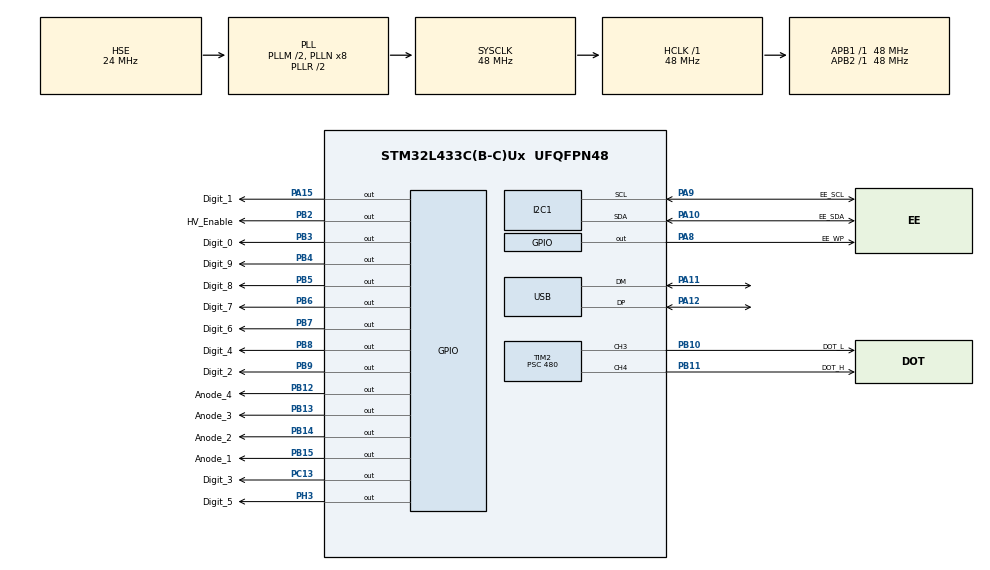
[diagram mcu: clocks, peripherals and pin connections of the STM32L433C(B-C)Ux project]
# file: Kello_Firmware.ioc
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ADC1.Channel-0\#ChannelRegularConversion=ADC_CHANNEL_TEMPSENSOR
ADC1.ClockPrescaler=ADC_CLOCK_ASYNC_DIV1
ADC1.ContinuousConvMode=DISABLE
ADC1.DMAContinuousRequests=DISABLE
ADC1.DataAlign=ADC_DATAALIGN_RIGHT
ADC1.DiscontinuousConvMode=DISABLE
ADC1.EOCSelection=ADC_EOC_SINGLE_CONV
ADC1.EnableAnalogWatchDog1=false
ADC1.EnableAnalogWatchDog2=false
ADC1.EnableAnalogWatchDog3=false
ADC1.EnableInjectedConversion=DISABLE
ADC1.EnableRegularConversion=ENABLE
ADC1.ExternalTrigConv=ADC_SOFTWARE_START
ADC1.ExternalTrigConvEdge=ADC_EXTERNALTRIGCONVEDGE_NONE
ADC1.LowPowerAutoWait=DISABLE
ADC1.NbrOfConversion=1
ADC1.NbrOfConversionFlag=1
ADC1.OffsetNumber-0\#ChannelRegularConversion=ADC_OFFSET_NONE
ADC1.Overrun=ADC_OVR_DATA_PRESERVED
ADC1.OversamplingMode=DISABLE
ADC1.Rank-0\#ChannelRegularConversion=1
ADC1.Resolution=ADC_RESOLUTION_12B
ADC1.SamplingTime-0\#ChannelRegularConversion=ADC_SAMPLETIME_2CYCLES_5
ADC1.ScanConvMode=ADC_SCAN_DISABLE
ADC1.master=1
Dma.Request0=TIM2_CH3
Dma.Request1=TIM2_CH2/CH4
Dma.TIM2_CH2/CH4.1.Direction=DMA_MEMORY_TO_PERIPH
Dma.TIM2_CH2/CH4.1.Instance=DMA1_Channel7
Dma.TIM2_CH2/CH4.1.MemDataAlignment=DMA_MDATAALIGN_WORD
Dma.TIM2_CH2/CH4.1.MemInc=DMA_MINC_ENABLE
Dma.TIM2_CH2/CH4.1.Mode=DMA_CIRCULAR
Dma.TIM2_CH2/CH4.1.PeriphDataAlignment=DMA_PDATAALIGN_WORD
Dma.TIM2_CH2/CH4.1.PeriphInc=DMA_PINC_DISABLE
Dma.TIM2_CH2/CH4.1.Priority=DMA_PRIORITY_VERY_HIGH
Dma.TIM2_CH3.0.Direction=DMA_MEMORY_TO_PERIPH
Dma.TIM2_CH3.0.Instance=DMA1_Channel1
Dma.TIM2_CH3.0.MemDataAlignment=DMA_MDATAALIGN_WORD
Dma.TIM2_CH3.0.MemInc=DMA_MINC_ENABLE
Dma.TIM2_CH3.0.Mode=DMA_CIRCULAR
Dma.TIM2_CH3.0.PeriphDataAlignment=DMA_PDATAALIGN_WORD
Dma.TIM2_CH3.0.PeriphInc=DMA_PINC_DISABLE
Dma.TIM2_CH3.0.Priority=DMA_PRIORITY_HIGH
I2C1.Timing=0x20303E5D
Mcu.Family=STM32L4
Mcu.Name=STM32L433C(B-C)Ux
Mcu.Package=UFQFPN48
NVIC.DMA1_Channel1_IRQn=true\:0\:0\:false\:false\:true\:false
NVIC.DMA1_Channel7_IRQn=true\:0\:0\:false\:false\:true\:false
NVIC.PriorityGroup=NVIC_PRIORITYGROUP_4
NVIC.TIM1_BRK_TIM15_IRQn=true\:0\:0\:false\:false\:true\:true
NVIC.TIM1_CC_IRQn=true\:0\:0\:false\:false\:true\:true
NVIC.TIM1_TRG_COM_IRQn=true\:0\:0\:false\:false\:true\:true
NVIC.TIM1_UP_TIM16_IRQn=true\:0\:0\:false\:false\:true\:true
NVIC.USB_IRQn=true\:0\:0\:false\:false\:true\:false
PA10.GPIO_Label=EE_SDA
PA10.Mode=I2C
PA10.Signal=I2C1_SDA
PA11.Mode=Device
PA11.Signal=USB_DM
PA12.Mode=Device
PA12.Signal=USB_DP
PA13\ (JTMS-SWDIO).GPIO_Label=SWDIO
PA13\ (JTMS-SWDIO).Mode=Serial_Wire
PA13\ (JTMS-SWDIO).Signal=SYS_JTMS-SWDIO
PA14\ (JTCK-SWCLK).GPIO_Label=SWCLK
PA14\ (JTCK-SWCLK).Mode=Serial_Wire
PA14\ (JTCK-SWCLK).Signal=SYS_JTCK-SWCLK
PA15\ (JTDI).GPIO_Label=Digit_1
PA15\ (JTDI).Signal=GPIO_Output
PA8.GPIO_Label=EE_WP
PA8.Signal=GPIO_Output
PA9.GPIO_Label=EE_SCL
PA9.Mode=I2C
PA9.Signal=I2C1_SCL
PB10.GPIO_Label=DOT_L
PB10.Signal=S_TIM2_CH3
PB11.GPIO_Label=DOT_H
PB11.Signal=S_TIM2_CH4
PB12.GPIO_Label=Anode_4
PB12.Signal=GPIO_Output
PB13.GPIO_Label=Anode_3
PB13.Signal=GPIO_Output
PB14.GPIO_Label=Anode_2
PB14.Signal=GPIO_Output
PB15.GPIO_Label=Anode_1
PB15.Signal=GPIO_Output
PB2.GPIO_Label=HV_Enable
PB2.PinState=GPIO_PIN_SET
PB2.Signal=GPIO_Output
PB3\ (JTDO-TRACESWO).GPIO_Label=Digit_0
PB3\ (JTDO-TRACESWO).Signal=GPIO_Output
PB4\ (NJTRST).GPIO_Label=Digit_9
PB4\ (NJTRST).Signal=GPIO_Output
PB5.GPIO_Label=Digit_8
PB5.Signal=GPIO_Output
PB6.GPIO_Label=Digit_7
PB6.Signal=GPIO_Output
PB7.GPIO_Label=Digit_6
PB7.Signal=GPIO_Output
PB8.GPIO_Label=Digit_4
PB8.Signal=GPIO_Output
PB9.GPIO_Label=Digit_2
PB9.Signal=GPIO_Output
PC13.GPIO_Label=Digit_3
PC13.Signal=GPIO_Output
PC14-OSC32_IN\ (PC14).GPIO_Label=OSC32K_IN
PC14-OSC32_IN\ (PC14).Mode=LSE-External-Oscillator
PC14-OSC32_IN\ (PC14).Signal=RCC_OSC32_IN
PC15-OSC32_OUT\ (PC15).GPIO_Label=OSC32K_OUT
PC15-OSC32_OUT\ (PC15).Mode=LSE-External-Oscillator
PC15-OSC32_OUT\ (PC15).Signal=RCC_OSC32_OUT
PH0-OSC_IN\ (PH0).GPIO_Label=OSC24M_IN
PH0-OSC_IN\ (PH0).Mode=HSE-External-Oscillator
PH0-OSC_IN\ (PH0).Signal=RCC_OSC_IN
PH1-OSC_OUT\ (PH1).GPIO_Label=OSC24M_OUT
PH1-OSC_OUT\ (PH1).Mode=HSE-External-Oscillator
PH1-OSC_OUT\ (PH1).Signal=RCC_OSC_OUT
PH3-BOOT0.GPIO_Label=Digit_5
PH3-BOOT0.Signal=GPIO_Output
ProjectManager.HeapSize=0x200
ProjectManager.StackSize=0x400
ProjectManager.TargetToolchain=SW4STM32
RCC.ADCFreq_Value=48000000
RCC.AHBFreq_Value=48000000
RCC.APB1Freq_Value=48000000
RCC.APB1TimFreq_Value=48000000
RCC.APB2Freq_Value=48000000
RCC.APB2TimFreq_Value=48000000
RCC.CortexFreq_Value=48000000
RCC.HCLKFreq_Value=48000000
RCC.HSE_VALUE=24000000
RCC.HSI48_VALUE=48000000
RCC.HSI_VALUE=16000000
RCC.I2C1CLockSelection=RCC_I2C1CLKSOURCE_SYSCLK
RCC.MSI_VALUE=4000000
RCC.PLLM=2
RCC.PLLSourceVirtual=RCC_PLLSOURCE_HSE
RCC.RTCClockSelection=RCC_RTCCLKSOURCE_LSE
RCC.SYSCLKFreq_VALUE=48000000
RCC.SYSCLKSource=RCC_SYSCLKSOURCE_PLLCLK
RCC.USBFreq_Value=48000000
RCC.VCOOutputFreq_Value=96000000
SH.S_TIM2_CH3.0=TIM2_CH3,PWM Generation3 CH3
SH.S_TIM2_CH4.0=TIM2_CH4,PWM Generation4 CH4
TIM1.Channel-PWM\ Generation1\ No\ Output=TIM_CHANNEL_1
TIM1.Period=500
TIM1.Prescaler=24
TIM1.Pulse-PWM\ Generation1\ No\ Output=250
TIM2.Channel-PWM\ Generation3\ CH3=TIM_CHANNEL_3
TIM2.Channel-PWM\ Generation4\ CH4=TIM_CHANNEL_4
TIM2.Period=1000
TIM2.Prescaler=480
TIM2.Pulse-PWM\ Generation3\ CH3=500
TIM2.Pulse-PWM\ Generation4\ CH4=500
USB_DEVICE.CLASS_NAME_FS=CDC
USB_DEVICE.VirtualMode=Cdc
USB_DEVICE.VirtualModeFS=Cdc_FS
VP_ADC1_TempSens_Input.Mode=IN-TempSens
VP_ADC1_Vbat_Input.Mode=IN-Vbat
VP_RTC_VS_RTC_Activate.Mode=RTC_Enabled
VP_RTC_VS_RTC_Calendar.Mode=RTC_Calendar
VP_TIM1_VS_ClockSourceINT.Mode=Internal
VP_TIM1_VS_no_output1.Mode=PWM Generation1 No Output
VP_TIM2_VS_ClockSourceINT.Mode=Internal
VP_USB_DEVICE_VS_USB_DEVICE_CDC_FS.Mode=CDC_FS
board=custom

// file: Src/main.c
/**
  ******************************************************************************
  * @file           : main.c
  * @brief          : Main program body
  ******************************************************************************
  * This notice applies to any and all portions of this file
  * that are not between comment pairs USER CODE BEGIN and
  * USER CODE END. Other portions of this file, whether
  * inserted by the user or by software development tools
  * are owned by their respective copyright owners.
  *
  * Copyright (c) 2018 STMicroelectronics International N.V.
  * All rights reserved.
  *
  * Redistribution and use in source and binary forms, with or without
  * modification, are permitted, provided that the following conditions are met:
  *
  * 1. Redistribution of source code must retain the above copyright notice,
  *    this list of conditions and the following disclaimer.
  * 2. Redistributions in binary form must reproduce the above copyright notice,
  *    this list of conditions and the following disclaimer in the documentation
  *    and/or other materials provided with the distribution.
  * 3. Neither the name of STMicroelectronics nor the names of other
  *    contributors to this software may be used to endorse or promote products
  *    derived from this software without specific written permission.
  * 4. This software, including modifications and/or derivative works of this
  *    software, must execute solely and exclusively on microcontroller or
  *    microprocessor devices manufactured by or for STMicroelectronics.
  * 5. Redistribution and use of this software other than as permitted under
  *    this license is void and will automatically terminate your rights under
  *    this license.
  *
  * THIS SOFTWARE IS PROVIDED BY STMICROELECTRONICS AND CONTRIBUTORS "AS IS"
  * AND ANY EXPRESS, IMPLIED OR STATUTORY WARRANTIES, INCLUDING, BUT NOT
  * LIMITED TO, THE IMPLIED WARRANTIES OF MERCHANTABILITY, FITNESS FOR A
  * PARTICULAR PURPOSE AND NON-INFRINGEMENT OF THIRD PARTY INTELLECTUAL PROPERTY
  * RIGHTS ARE DISCLAIMED TO THE FULLEST EXTENT PERMITTED BY LAW. IN NO EVENT
  * SHALL STMICROELECTRONICS OR CONTRIBUTORS BE LIABLE FOR ANY DIRECT, INDIRECT,
  * INCIDENTAL, SPECIAL, EXEMPLARY, OR CONSEQUENTIAL DAMAGES (INCLUDING, BUT NOT
  * LIMITED TO, PROCUREMENT OF SUBSTITUTE GOODS OR SERVICES; LOSS OF USE, DATA,
  * OR PROFITS; OR BUSINESS INTERRUPTION) HOWEVER CAUSED AND ON ANY THEORY OF
  * LIABILITY, WHETHER IN CONTRACT, STRICT LIABILITY, OR TORT (INCLUDING
  * NEGLIGENCE OR OTHERWISE) ARISING IN ANY WAY OUT OF THE USE OF THIS SOFTWARE,
  * EVEN IF ADVISED OF THE POSSIBILITY OF SUCH DAMAGE.
  *
  ******************************************************************************
  */
#include "main.h"
#include "stm32l4xx_hal.h"
#include "usb_device.h"

/* USER CODE BEGIN Includes */
//#include "usbd_cdc_if.h" // USB
#include "EEprom.h"
#include "Display.h"
#include "Defines.h"
#include "USB.h"
/* USER CODE END Includes */

ADC_HandleTypeDef hadc1;

I2C_HandleTypeDef hi2c1;

RTC_HandleTypeDef hrtc;

TIM_HandleTypeDef htim1;
TIM_HandleTypeDef htim2;
DMA_HandleTypeDef hdma_tim2_ch3;
DMA_HandleTypeDef hdma_tim2_ch2_ch4;

/* USER CODE BEGIN PV */
/* Private variables ---------------------------------------------------------*/
HAL_StatusTypeDef DisplayStatus;
HAL_StatusTypeDef EEpromStatus;
/* USER CODE END PV */

void SystemClock_Config(void);
static void MX_GPIO_Init(void);
static void MX_DMA_Init(void);
static void MX_ADC1_Init(void);
static void MX_I2C1_Init(void);
static void MX_RTC_Init(void);
static void MX_TIM1_Init(void);
static void MX_TIM2_Init(void);

void HAL_TIM_MspPostInit(TIM_HandleTypeDef *htim);

/* USER CODE BEGIN PFP */
/* Private function prototypes -----------------------------------------------*/

/* USER CODE END PFP */

int main(void)
{
  /* USER CODE BEGIN 1 */
  DisplayStatus = HAL_OK;
  EEpromStatus 	= HAL_OK;
  /* USER CODE END 1 */

  /* MCU Configuration----------------------------------------------------------*/

  /* Reset of all peripherals, Initializes the Flash interface and the Systick. */
  HAL_Init();

  /* Configure the system clock */
  SystemClock_Config();

  /* Initialize all configured peripherals */
  MX_GPIO_Init();
  MX_DMA_Init();
  MX_ADC1_Init();
  MX_I2C1_Init();
  MX_RTC_Init();
  MX_TIM1_Init();
  MX_TIM2_Init();
  MX_USB_DEVICE_Init();
  /* USER CODE BEGIN 2 */

  // Initialize settings
  EEpromStatus |= EEprom_Init();

  // Start HV Display
  DisplayStatus |= Display_Init( &htim1, &htim2 );
  Display_Set_Brightness( 	EEprom_Get_Brightness()  );
  Display_Set_RefreshRate( 	EEprom_Get_RefreshRate() );
  Display_Set_TimeFormat( 	EEprom_Get_TimeFormat()  );
  Display_Set_DotStyle(		EEprom_Get_DotStyle()	 );
  Display_Set_DotCustom( 	EEprom_Get_DotCustom() 	 );
  Display_Start();

  USB_Init();

  /* USER CODE END 2 */

  /* Infinite loop */
  /* USER CODE BEGIN WHILE */
  uint8_t OldSec = Display_Get_SL();
  while (1)
  {
  /* USER CODE END WHILE */

  /* USER CODE BEGIN 3 */
	  // React to incoming requests
	  if( USB_RX_IsReceived() ) USB_RX_Respond();

	  // Wait for a second
	  if( OldSec == Display_Get_SL() ) continue;
	  OldSec = Display_Get_SL();

	  //USB_TX_Info();
  }
  /* USER CODE END 3 */

}

void SystemClock_Config(void)
{

  RCC_OscInitTypeDef RCC_OscInitStruct;
  RCC_ClkInitTypeDef RCC_ClkInitStruct;
  RCC_PeriphCLKInitTypeDef PeriphClkInit;

    /**Configure LSE Drive Capability
    */
  HAL_PWR_EnableBkUpAccess();

  __HAL_RCC_LSEDRIVE_CONFIG(RCC_LSEDRIVE_LOW);

    /**Initializes the CPU, AHB and APB busses clocks
    */
  RCC_OscInitStruct.OscillatorType = RCC_OSCILLATORTYPE_HSE|RCC_OSCILLATORTYPE_LSE;
  RCC_OscInitStruct.HSEState = RCC_HSE_ON;
  RCC_OscInitStruct.LSEState = RCC_LSE_ON;
  RCC_OscInitStruct.PLL.PLLState = RCC_PLL_ON;
  RCC_OscInitStruct.PLL.PLLSource = RCC_PLLSOURCE_HSE;
  RCC_OscInitStruct.PLL.PLLM = 2;
  RCC_OscInitStruct.PLL.PLLN = 8;
  RCC_OscInitStruct.PLL.PLLP = RCC_PLLP_DIV7;
  RCC_OscInitStruct.PLL.PLLQ = RCC_PLLQ_DIV2;
  RCC_OscInitStruct.PLL.PLLR = RCC_PLLR_DIV2;
  if (HAL_RCC_OscConfig(&RCC_OscInitStruct) != HAL_OK)
  {
    _Error_Handler(__FILE__, __LINE__);
  }

    /**Initializes the CPU, AHB and APB busses clocks
    */
  RCC_ClkInitStruct.ClockType = RCC_CLOCKTYPE_HCLK|RCC_CLOCKTYPE_SYSCLK
                              |RCC_CLOCKTYPE_PCLK1|RCC_CLOCKTYPE_PCLK2;
  RCC_ClkInitStruct.SYSCLKSource = RCC_SYSCLKSOURCE_PLLCLK;
  RCC_ClkInitStruct.AHBCLKDivider = RCC_SYSCLK_DIV1;
  RCC_ClkInitStruct.APB1CLKDivider = RCC_HCLK_DIV1;
  RCC_ClkInitStruct.APB2CLKDivider = RCC_HCLK_DIV1;

  if (HAL_RCC_ClockConfig(&RCC_ClkInitStruct, FLASH_LATENCY_2) != HAL_OK)
  {
    _Error_Handler(__FILE__, __LINE__);
  }

  PeriphClkInit.PeriphClockSelection = RCC_PERIPHCLK_RTC|RCC_PERIPHCLK_I2C1
                              |RCC_PERIPHCLK_USB|RCC_PERIPHCLK_ADC;
  PeriphClkInit.I2c1ClockSelection = RCC_I2C1CLKSOURCE_SYSCLK;
  PeriphClkInit.AdcClockSelection = RCC_ADCCLKSOURCE_PLLSAI1;
  PeriphClkInit.RTCClockSelection = RCC_RTCCLKSOURCE_LSE;
  PeriphClkInit.UsbClockSelection = RCC_USBCLKSOURCE_PLLSAI1;
  PeriphClkInit.PLLSAI1.PLLSAI1Source = RCC_PLLSOURCE_HSE;
  PeriphClkInit.PLLSAI1.PLLSAI1M = 2;
  PeriphClkInit.PLLSAI1.PLLSAI1N = 8;
  PeriphClkInit.PLLSAI1.PLLSAI1P = RCC_PLLP_DIV7;
  PeriphClkInit.PLLSAI1.PLLSAI1Q = RCC_PLLQ_DIV2;
  PeriphClkInit.PLLSAI1.PLLSAI1R = RCC_PLLR_DIV2;
  PeriphClkInit.PLLSAI1.PLLSAI1ClockOut = RCC_PLLSAI1_48M2CLK|RCC_PLLSAI1_ADC1CLK;
  if (HAL_RCCEx_PeriphCLKConfig(&PeriphClkInit) != HAL_OK)
  {
    _Error_Handler(__FILE__, __LINE__);
  }

    /**Configure the main internal regulator output voltage
    */
  if (HAL_PWREx_ControlVoltageScaling(PWR_REGULATOR_VOLTAGE_SCALE1) != HAL_OK)
  {
    _Error_Handler(__FILE__, __LINE__);
  }

    /**Configure the Systick interrupt time
    */
  HAL_SYSTICK_Config(HAL_RCC_GetHCLKFreq()/1000);

    /**Configure the Systick
    */
  HAL_SYSTICK_CLKSourceConfig(SYSTICK_CLKSOURCE_HCLK);

  /* SysTick_IRQn interrupt configuration */
  HAL_NVIC_SetPriority(SysTick_IRQn, 0, 0);
}

/* ADC1 init function */
static void MX_ADC1_Init(void)
{

  ADC_ChannelConfTypeDef sConfig;

    /**Common config
    */
  hadc1.Instance = ADC1;
  hadc1.Init.ClockPrescaler = ADC_CLOCK_ASYNC_DIV1;
  hadc1.Init.Resolution = ADC_RESOLUTION_12B;
  hadc1.Init.DataAlign = ADC_DATAALIGN_RIGHT;
  hadc1.Init.ScanConvMode = ADC_SCAN_DISABLE;
  hadc1.Init.EOCSelection = ADC_EOC_SINGLE_CONV;
  hadc1.Init.LowPowerAutoWait = DISABLE;
  hadc1.Init.ContinuousConvMode = DISABLE;
  hadc1.Init.NbrOfConversion = 1;
  hadc1.Init.DiscontinuousConvMode = DISABLE;
  hadc1.Init.NbrOfDiscConversion = 1;
  hadc1.Init.ExternalTrigConv = ADC_SOFTWARE_START;
  hadc1.Init.ExternalTrigConvEdge = ADC_EXTERNALTRIGCONVEDGE_NONE;
  hadc1.Init.DMAContinuousRequests = DISABLE;
  hadc1.Init.Overrun = ADC_OVR_DATA_PRESERVED;
  hadc1.Init.OversamplingMode = DISABLE;
  if (HAL_ADC_Init(&hadc1) != HAL_OK)
  {
    _Error_Handler(__FILE__, __LINE__);
  }

    /**Configure Regular Channel
    */
  sConfig.Channel = ADC_CHANNEL_TEMPSENSOR;
  sConfig.Rank = ADC_REGULAR_RANK_1;
  sConfig.SamplingTime = ADC_SAMPLETIME_2CYCLES_5;
  sConfig.SingleDiff = ADC_SINGLE_ENDED;
  sConfig.OffsetNumber = ADC_OFFSET_NONE;
  sConfig.Offset = 0;
  if (HAL_ADC_ConfigChannel(&hadc1, &sConfig) != HAL_OK)
  {
    _Error_Handler(__FILE__, __LINE__);
  }

}

/* I2C1 init function */
static void MX_I2C1_Init(void)
{

  hi2c1.Instance = I2C1;
  hi2c1.Init.Timing = 0x20303E5D;
  hi2c1.Init.OwnAddress1 = 0;
  hi2c1.Init.AddressingMode = I2C_ADDRESSINGMODE_7BIT;
  hi2c1.Init.DualAddressMode = I2C_DUALADDRESS_DISABLE;
  hi2c1.Init.OwnAddress2 = 0;
  hi2c1.Init.OwnAddress2Masks = I2C_OA2_NOMASK;
  hi2c1.Init.GeneralCallMode = I2C_GENERALCALL_DISABLE;
  hi2c1.Init.NoStretchMode = I2C_NOSTRETCH_DISABLE;
  if (HAL_I2C_Init(&hi2c1) != HAL_OK)
  {
    _Error_Handler(__FILE__, __LINE__);
  }

    /**Configure Analogue filter
    */
  if (HAL_I2CEx_ConfigAnalogFilter(&hi2c1, I2C_ANALOGFILTER_ENABLE) != HAL_OK)
  {
    _Error_Handler(__FILE__, __LINE__);
  }

    /**Configure Digital filter
    */
  if (HAL_I2CEx_ConfigDigitalFilter(&hi2c1, 0) != HAL_OK)
  {
    _Error_Handler(__FILE__, __LINE__);
  }

}

/* RTC init function */
static void MX_RTC_Init(void)
{

  RTC_TimeTypeDef sTime;
  RTC_DateTypeDef sDate;

  /* USER CODE BEGIN RTC_Init 1 */
  uint8_t vbatloss = 1;

  // check if backup battery has discharged or if it is the first power up
  if( RTC->ISR == 7 ){ // Register Status Flag cold start value
	  vbatloss = 0;
  }

  /* USER CODE END RTC_Init 1 */

    /**Initialize RTC Only
    */
  hrtc.Instance = RTC;
  hrtc.Init.HourFormat = RTC_HOURFORMAT_24;
  hrtc.Init.AsynchPrediv = 127;
  hrtc.Init.SynchPrediv = 255;
  hrtc.Init.OutPut = RTC_OUTPUT_DISABLE;
  hrtc.Init.OutPutRemap = RTC_OUTPUT_REMAP_NONE;
  hrtc.Init.OutPutPolarity = RTC_OUTPUT_POLARITY_HIGH;
  hrtc.Init.OutPutType = RTC_OUTPUT_TYPE_OPENDRAIN;
  if (HAL_RTC_Init(&hrtc) != HAL_OK)
  {
    _Error_Handler(__FILE__, __LINE__);
  }
  /* USER CODE BEGIN RTC_Init 2 */

  if( !vbatloss ) return;
  return;

  /* USER CODE END RTC_Init 2 */

    /**Initialize RTC and set the Time and Date
    */
  sTime.Hours = 0x0;
  sTime.Minutes = 0x0;
  sTime.Seconds = 0x0;
  sTime.DayLightSaving = RTC_DAYLIGHTSAVING_NONE;
  sTime.StoreOperation = RTC_STOREOPERATION_RESET;
  if (HAL_RTC_SetTime(&hrtc, &sTime, RTC_FORMAT_BCD) != HAL_OK)
  {
    _Error_Handler(__FILE__, __LINE__);
  }

  sDate.WeekDay = RTC_WEEKDAY_MONDAY;
  sDate.Month = RTC_MONTH_JANUARY;
  sDate.Date = 0x1;
  sDate.Year = 0x0;

  if (HAL_RTC_SetDate(&hrtc, &sDate, RTC_FORMAT_BCD) != HAL_OK)
  {
    _Error_Handler(__FILE__, __LINE__);
  }

}

/* TIM1 init function */
static void MX_TIM1_Init(void)
{

  TIM_ClockConfigTypeDef sClockSourceConfig;
  TIM_MasterConfigTypeDef sMasterConfig;
  TIM_OC_InitTypeDef sConfigOC;
  TIM_BreakDeadTimeConfigTypeDef sBreakDeadTimeConfig;

  htim1.Instance = TIM1;
  htim1.Init.Prescaler = 24;
  htim1.Init.CounterMode = TIM_COUNTERMODE_UP;
  htim1.Init.Period = 500;
  htim1.Init.ClockDivision = TIM_CLOCKDIVISION_DIV1;
  htim1.Init.RepetitionCounter = 0;
  htim1.Init.AutoReloadPreload = TIM_AUTORELOAD_PRELOAD_DISABLE;
  if (HAL_TIM_Base_Init(&htim1) != HAL_OK)
  {
    _Error_Handler(__FILE__, __LINE__);
  }

  sClockSourceConfig.ClockSource = TIM_CLOCKSOURCE_INTERNAL;
  if (HAL_TIM_ConfigClockSource(&htim1, &sClockSourceConfig) != HAL_OK)
  {
    _Error_Handler(__FILE__, __LINE__);
  }

  if (HAL_TIM_PWM_Init(&htim1) != HAL_OK)
  {
    _Error_Handler(__FILE__, __LINE__);
  }

  sMasterConfig.MasterOutputTrigger = TIM_TRGO_RESET;
  sMasterConfig.MasterOutputTrigger2 = TIM_TRGO2_RESET;
  sMasterConfig.MasterSlaveMode = TIM_MASTERSLAVEMODE_DISABLE;
  if (HAL_TIMEx_MasterConfigSynchronization(&htim1, &sMasterConfig) != HAL_OK)
  {
    _Error_Handler(__FILE__, __LINE__);
  }

  sConfigOC.OCMode = TIM_OCMODE_PWM1;
  sConfigOC.Pulse = 250;
  sConfigOC.OCPolarity = TIM_OCPOLARITY_HIGH;
  sConfigOC.OCNPolarity = TIM_OCNPOLARITY_HIGH;
  sConfigOC.OCFastMode = TIM_OCFAST_DISABLE;
  sConfigOC.OCIdleState = TIM_OCIDLESTATE_RESET;
  sConfigOC.OCNIdleState = TIM_OCNIDLESTATE_RESET;
  if (HAL_TIM_PWM_ConfigChannel(&htim1, &sConfigOC, TIM_CHANNEL_1) != HAL_OK)
  {
    _Error_Handler(__FILE__, __LINE__);
  }

  sBreakDeadTimeConfig.OffStateRunMode = TIM_OSSR_DISABLE;
  sBreakDeadTimeConfig.OffStateIDLEMode = TIM_OSSI_DISABLE;
  sBreakDeadTimeConfig.LockLevel = TIM_LOCKLEVEL_OFF;
  sBreakDeadTimeConfig.DeadTime = 0;
  sBreakDeadTimeConfig.BreakState = TIM_BREAK_DISABLE;
  sBreakDeadTimeConfig.BreakPolarity = TIM_BREAKPOLARITY_HIGH;
  sBreakDeadTimeConfig.BreakFilter = 0;
  sBreakDeadTimeConfig.Break2State = TIM_BREAK2_DISABLE;
  sBreakDeadTimeConfig.Break2Polarity = TIM_BREAK2POLARITY_HIGH;
  sBreakDeadTimeConfig.Break2Filter = 0;
  sBreakDeadTimeConfig.AutomaticOutput = TIM_AUTOMATICOUTPUT_DISABLE;
  if (HAL_TIMEx_ConfigBreakDeadTime(&htim1, &sBreakDeadTimeConfig) != HAL_OK)
  {
    _Error_Handler(__FILE__, __LINE__);
  }

}

/* TIM2 init function */
static void MX_TIM2_Init(void)
{

  TIM_ClockConfigTypeDef sClockSourceConfig;
  TIM_MasterConfigTypeDef sMasterConfig;
  TIM_OC_InitTypeDef sConfigOC;

  htim2.Instance = TIM2;
  htim2.Init.Prescaler = 480;
  htim2.Init.CounterMode = TIM_COUNTERMODE_UP;
  htim2.Init.Period = 1000;
  htim2.Init.ClockDivision = TIM_CLOCKDIVISION_DIV1;
  htim2.Init.AutoReloadPreload = TIM_AUTORELOAD_PRELOAD_DISABLE;
  if (HAL_TIM_Base_Init(&htim2) != HAL_OK)
  {
    _Error_Handler(__FILE__, __LINE__);
  }

  sClockSourceConfig.ClockSource = TIM_CLOCKSOURCE_INTERNAL;
  if (HAL_TIM_ConfigClockSource(&htim2, &sClockSourceConfig) != HAL_OK)
  {
    _Error_Handler(__FILE__, __LINE__);
  }

  if (HAL_TIM_PWM_Init(&htim2) != HAL_OK)
  {
    _Error_Handler(__FILE__, __LINE__);
  }

  sMasterConfig.MasterOutputTrigger = TIM_TRGO_RESET;
  sMasterConfig.MasterSlaveMode = TIM_MASTERSLAVEMODE_DISABLE;
  if (HAL_TIMEx_MasterConfigSynchronization(&htim2, &sMasterConfig) != HAL_OK)
  {
    _Error_Handler(__FILE__, __LINE__);
  }

  sConfigOC.OCMode = TIM_OCMODE_PWM1;
  sConfigOC.Pulse = 500;
  sConfigOC.OCPolarity = TIM_OCPOLARITY_HIGH;
  sConfigOC.OCFastMode = TIM_OCFAST_DISABLE;
  if (HAL_TIM_PWM_ConfigChannel(&htim2, &sConfigOC, TIM_CHANNEL_3) != HAL_OK)
  {
    _Error_Handler(__FILE__, __LINE__);
  }

  if (HAL_TIM_PWM_ConfigChannel(&htim2, &sConfigOC, TIM_CHANNEL_4) != HAL_OK)
  {
    _Error_Handler(__FILE__, __LINE__);
  }

  HAL_TIM_MspPostInit(&htim2);

}

static void MX_DMA_Init(void)
{
  /* DMA controller clock enable */
  __HAL_RCC_DMA1_CLK_ENABLE();

  /* DMA interrupt init */
  /* DMA1_Channel1_IRQn interrupt configuration */
  HAL_NVIC_SetPriority(DMA1_Channel1_IRQn, 0, 0);
  HAL_NVIC_EnableIRQ(DMA1_Channel1_IRQn);
  /* DMA1_Channel7_IRQn interrupt configuration */
  HAL_NVIC_SetPriority(DMA1_Channel7_IRQn, 0, 0);
  HAL_NVIC_EnableIRQ(DMA1_Channel7_IRQn);

}

/** Configure pins as
        * Analog
        * Input
        * Output
        * EVENT_OUT
        * EXTI
*/
static void MX_GPIO_Init(void)
{

  GPIO_InitTypeDef GPIO_InitStruct;

  /* GPIO Ports Clock Enable */
  __HAL_RCC_GPIOC_CLK_ENABLE();
  __HAL_RCC_GPIOH_CLK_ENABLE();
  __HAL_RCC_GPIOB_CLK_ENABLE();
  __HAL_RCC_GPIOA_CLK_ENABLE();

  /*Configure GPIO pin Output Level */
  HAL_GPIO_WritePin(Digit_3_GPIO_Port, Digit_3_Pin, GPIO_PIN_RESET);

  /*Configure GPIO pin Output Level */
  HAL_GPIO_WritePin(HV_Enable_GPIO_Port, HV_Enable_Pin, GPIO_PIN_SET);

  /*Configure GPIO pin Output Level */
  HAL_GPIO_WritePin(GPIOB, Anode_4_Pin|Anode_3_Pin|Anode_2_Pin|Anode_1_Pin
                          |Digit_0_Pin|Digit_9_Pin|Digit_8_Pin|Digit_7_Pin
                          |Digit_6_Pin|Digit_4_Pin|Digit_2_Pin, GPIO_PIN_RESET);

  /*Configure GPIO pin Output Level */
  HAL_GPIO_WritePin(GPIOA, EE_WP_Pin|Digit_1_Pin, GPIO_PIN_RESET);

  /*Configure GPIO pin Output Level */
  HAL_GPIO_WritePin(Digit_5_GPIO_Port, Digit_5_Pin, GPIO_PIN_RESET);

  /*Configure GPIO pin : Digit_3_Pin */
  GPIO_InitStruct.Pin = Digit_3_Pin;
  GPIO_InitStruct.Mode = GPIO_MODE_OUTPUT_PP;
  GPIO_InitStruct.Pull = GPIO_NOPULL;
  GPIO_InitStruct.Speed = GPIO_SPEED_FREQ_LOW;
  HAL_GPIO_Init(Digit_3_GPIO_Port, &GPIO_InitStruct);

  /*Configure GPIO pins : HV_Enable_Pin Anode_4_Pin Anode_3_Pin Anode_2_Pin
                           Anode_1_Pin Digit_0_Pin Digit_9_Pin Digit_8_Pin
                           Digit_7_Pin Digit_6_Pin Digit_4_Pin Digit_2_Pin */
  GPIO_InitStruct.Pin = HV_Enable_Pin|Anode_4_Pin|Anode_3_Pin|Anode_2_Pin
                          |Anode_1_Pin|Digit_0_Pin|Digit_9_Pin|Digit_8_Pin
                          |Digit_7_Pin|Digit_6_Pin|Digit_4_Pin|Digit_2_Pin;
  GPIO_InitStruct.Mode = GPIO_MODE_OUTPUT_PP;
  GPIO_InitStruct.Pull = GPIO_NOPULL;
  GPIO_InitStruct.Speed = GPIO_SPEED_FREQ_LOW;
  HAL_GPIO_Init(GPIOB, &GPIO_InitStruct);

  /*Configure GPIO pins : EE_WP_Pin Digit_1_Pin */
  GPIO_InitStruct.Pin = EE_WP_Pin|Digit_1_Pin;
  GPIO_InitStruct.Mode = GPIO_MODE_OUTPUT_PP;
  GPIO_InitStruct.Pull = GPIO_NOPULL;
  GPIO_InitStruct.Speed = GPIO_SPEED_FREQ_LOW;
  HAL_GPIO_Init(GPIOA, &GPIO_InitStruct);

  /*Configure GPIO pin : Digit_5_Pin */
  GPIO_InitStruct.Pin = Digit_5_Pin;
  GPIO_InitStruct.Mode = GPIO_MODE_OUTPUT_PP;
  GPIO_InitStruct.Pull = GPIO_NOPULL;
  GPIO_InitStruct.Speed = GPIO_SPEED_FREQ_LOW;
  HAL_GPIO_Init(Digit_5_GPIO_Port, &GPIO_InitStruct);

}

void _Error_Handler(char *file, int line)
{
  /* USER CODE BEGIN Error_Handler_Debug */
  /* User can add his own implementation to report the HAL error return state */
  while(1)
  {
	  USB_TX_Size = 0;
	  USB_TX_Size = sprintf((char*)USB_TX_Data+USB_TX_Size, "ERROR: FILE %s LINE %d\n\r",file,line) + USB_TX_Size;

	  CDC_Transmit_FS(USB_TX_Data, USB_TX_Size);

	  HAL_Delay(1000);
  }
  /* USER CODE END Error_Handler_Debug */
}

/************************ (C) COPYRIGHT STMicroelectronics *****END OF FILE****/
